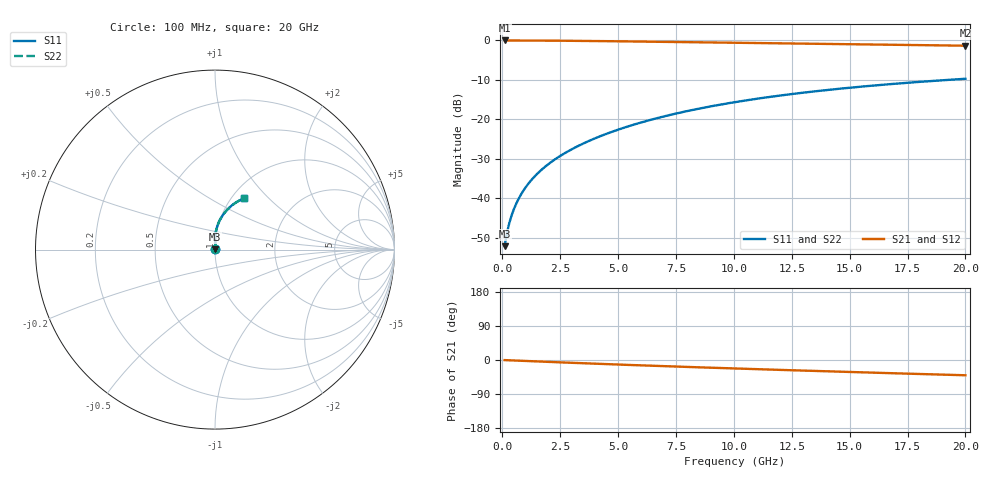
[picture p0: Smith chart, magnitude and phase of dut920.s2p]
! Touchstone file exported from HFSS 2024.1.0
!  File:  C:/UserFiles/LocalFiles/RDL_TSV_Batchsim/temp_RDL_bottom_920_1779940927.aedt
!  Generated:  12:04:15 PM May 28, 2026
!  Design:  RDL_bottom
!  Project:  temp_RDL_bottom_920_1779940927
!  Setup:  Setup1
!  Solution:  Sweep
! Variables:
!  dtsv = 10.80580581um
!  hbump = 3um
!  htsv = 92.49um
!  ldown = 577.3um
!  lrdl = 100um
!  p = 40
!  p1 = 56.07um
!  rhole = 1um
!  t = 450um
!  tdown = 4.25um
!  trdl = 3.915915916um
!  wdown = 27.82um
!  wrdl = 20um
# GHz S MA R 50.000000
! Terminal data exported
! Port[1] = RDL1_T1
! Port[2] = RDL1_T2
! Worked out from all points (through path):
!   200 points, 100 MHz to 20 GHz, reference 50 ohm
!   highest |S21| = -0.02 dB at 100 MHz (marker M1); lowest = -1.3 dB at 20 GHz (marker M2)
!   group delay of S21, straight-line fit = 5.52 ps
!   lowest |S11| = -52.1 dB at 100 MHz (marker M3), VSWR 1.00, Z = 50.2 + j0.155 ohm
!   |S11| at or under -10 dB: start of sweep to 19.25 GHz
!   |S22| runs from -52.1 to -9.7 dB; largest |S21 - S12| = 1.9e-15
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0.1  0.002487 38.3  0.998 -0.3  0.998 -0.3  0.002487 38.3
! Gamma 0 0 0 0
! Port Impedance 50 0 50 0
0.2  0.003637 54.8  0.9978 -0.5  0.9978 -0.5  0.003637 54.8
0.3  0.004851 62.8  0.9976 -0.8  0.9976 -0.8  0.004851 62.8
0.4  0.006072 67.8  0.9975 -1.0  0.9975 -1.0  0.006072 67.8
0.5  0.007305 71.4  0.9973 -1.3  0.9973 -1.3  0.007306 71.4
0.6  0.008555 74.1  0.9971 -1.5  0.9971 -1.5  0.008555 74.1
0.8  0.0111 77.9  0.9967 -2.0  0.9967 -2.0  0.0111 77.9
1.1  0.01502 81.5  0.9961 -2.8  0.9961 -2.8  0.01502 81.5
1.3  0.01768 83.1  0.9955 -3.3  0.9955 -3.3  0.01768 83.1
1.6  0.02175 84.8  0.9945 -4.0  0.9945 -4.0  0.02175 84.8
2.1  0.02872 86.7  0.9925 -5.2  0.9925 -5.2  0.02872 86.7
2.7  0.03741 88.1  0.9895 -6.7  0.9895 -6.7  0.03741 88.1
3.5  0.04958 88.9  0.9847 -8.6  0.9847 -8.6  0.04957 88.9
4.2  0.06078 89.1  0.9799 -10.2  0.9799 -10.2  0.06076 89.1
5  0.07413 88.8  0.974 -12.0  0.974 -12.0  0.07411 88.8
6.8  0.1058 86.8  0.9597 -15.9  0.9597 -15.9  0.1058 86.8
8.4  0.1351 84.1  0.9467 -19.1  0.9467 -19.1  0.135 84.1
10.1  0.1663 80.8  0.933 -22.5  0.933 -22.5  0.1662 80.7
11.7  0.1952 77.4  0.9203 -25.5  0.9203 -25.5  0.1951 77.4
13.4  0.2249 73.9  0.907 -28.7  0.907 -28.7  0.2248 73.9
16.7  0.2787 67.1  0.8816 -34.6  0.8816 -34.6  0.2785 67.1
20  0.3267 60.8  0.8566 -40.3  0.8566 -40.3  0.3265 60.8
